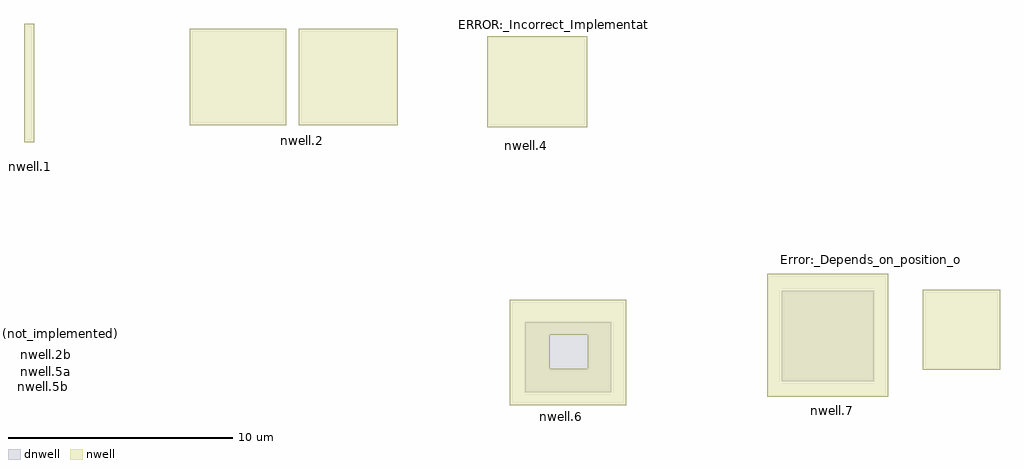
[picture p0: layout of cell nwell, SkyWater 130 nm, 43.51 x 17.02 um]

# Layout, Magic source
magic
tech sky130A
<< dnwell >>
rect 2167 -721 2549 -408
rect 3310 -672 3720 -267
<< nwell >>
rect -68 393 -22 923
rect 670 469 1102 899
rect 1156 469 1599 899
rect 1997 461 2442 866
rect 2098 -463 2616 -309
rect 2098 -615 2276 -463
rect 2446 -615 2616 -463
rect 2098 -779 2616 -615
rect 3246 -740 3784 -193
rect 3938 -620 4283 -263
<< labels >>
flabel comment s 25 -459 25 -459 0 FreeSans 280 0 0 0 (not_implemented)
flabel comment s 146 1124 146 1124 0 FreeSans 400 0 0 0 Nwell
flabel comment s 1175 401 1175 401 0 FreeSans 280 0 0 0 nwell.2
flabel comment s -39 286 -39 286 0 FreeSans 280 0 0 0 nwell.1
flabel comment s 32 -554 32 -554 0 FreeSans 280 0 0 0 nwell.2b
flabel comment s 2170 381 2170 381 0 FreeSans 280 0 0 0 nwell.4
flabel comment s 2291 919 2291 919 0 FreeSans 280 0 0 0 ERROR:_Incorrect_Implementation
flabel comment s 1106 -915 1106 -915 0 FreeSans 280 0 0 0 nwell.5
flabel comment s 2330 -827 2330 -827 0 FreeSans 280 0 0 0 nwell.6
flabel comment s 29 -626 29 -626 0 FreeSans 280 0 0 0 nwell.5a
flabel comment s 17 -695 17 -695 0 FreeSans 280 0 0 0 nwell.5b
flabel comment s 3537 -800 3537 -800 0 FreeSans 280 0 0 0 nwell.7
flabel comment s 3707 -128 3707 -128 0 FreeSans 280 0 0 0 Error:_Depends_on_position_of_well
<< end >>
